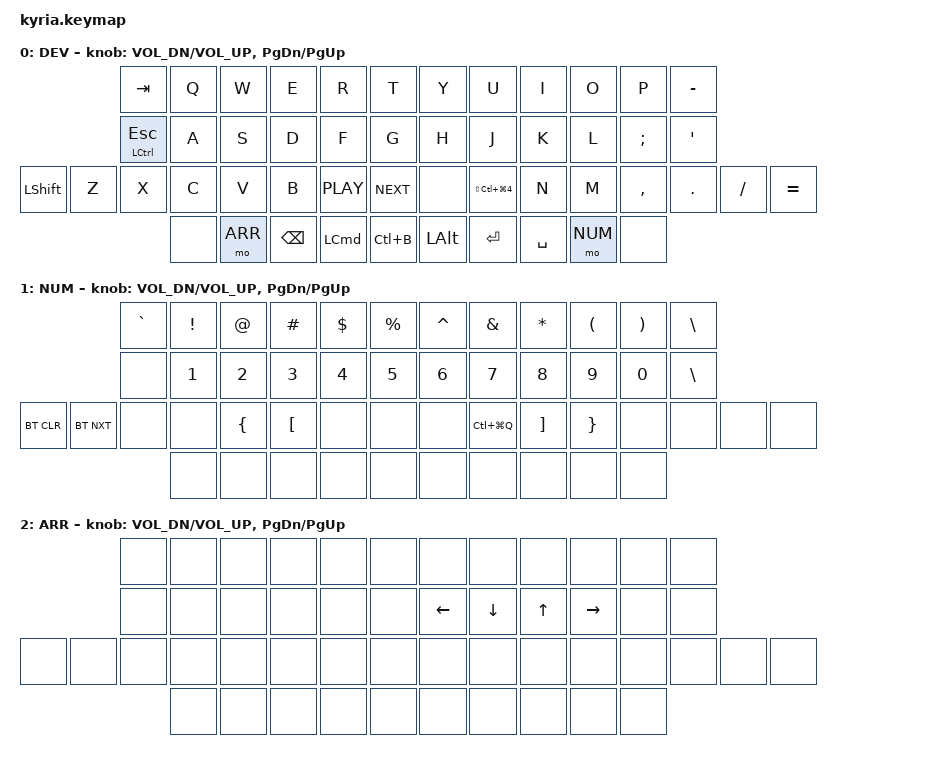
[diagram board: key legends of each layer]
/*
 * Copyright (c) 2020 The ZMK Contributors
 *
 * SPDX-License-Identifier: MIT
 * 
 * Keymap by Daniel Willeitner
 */

#include <behaviors.dtsi>
#include <dt-bindings/zmk/keys.h>
#include <dt-bindings/zmk/bt.h>

/* Layers */
#define DEV 0
#define NUM 1
#define ARR 2

/ {
	keymap {
		compatible = "zmk,keymap";

		// Base Layer: QWERTY
		//
		// ,-------------------------------------------.                              ,-------------------------------------------.
		// |   TAB  |   Q  |   W  |   E  |   R  |   T  |                              |   Y  |   U  |   I  |   O  |   P  |  - _   |
		// |--------+------+------+------+------+------|                              |------+------+------+------+------+--------|
		// |Ctrl/ESC|   A  |   S  |   D  |   F  |   G  |                              |   H  |   J  |   K  |   L  | ;  : |  ' "   |
		// |--------+------+------+------+------+------+-------------.  ,-------------+------+------+------+------+------+--------|
		// | LShift |   Z  |   X  |   C  |   V  |   B  | Play | Skip |  |      |C+W+S4|   N  |   M  | ,  < | . >  | /  ? |  = +   |
		// `----------------------+------+------+------+------+------|  |------+------+------+------+------+----------------------'
		//                        | ENCL |  ARR | BS   | CMD  |C^B   |  | Opt  | Enter| Space|  NUM | ENCR |
		//                        |      |      |      |      |      |  |      |      | Lower|      |      |
		//                        `----------------------------------'  `----------------------------------'
		//
		base_layer {
		  label = "DEV";
				bindings = <
					&kp TAB				&kp Q &kp W &kp E		&kp R			&kp T																															      &kp Y			&kp U		&kp I     &kp O   &kp P    &kp MINUS
					&mt LCTRL ESC &kp A &kp S &kp D		&kp F			&kp G																															      &kp H			&kp J		&kp K     &kp L   &kp SEMI &kp SQT
					&kp LSHFT			&kp Z &kp X &kp C		&kp V			&kp B			&kp C_PLAY	&kp C_NEXT   &none			&kp LS(LC(LG(NUMBER_4)))	&kp N			&kp M		&kp COMMA &kp DOT &kp FSLH &kp EQUAL
																		&none		&mo ARR		&kp BSPC	&kp LCMD		&kp LC(B)    &kp LALT		&kp ENTER					        &kp SPACE &mo NUM &none
					>;

					sensor-bindings = <&inc_dec_kp C_VOL_DN C_VOL_UP &inc_dec_kp PG_DN PG_UP>;
		};

		// Base Layer: Numbers
		//
		// ,-------------------------------------------.                              ,-------------------------------------------.
		// |   ` ~  |   !  |   @  |   #  |   $  |   %  |                              |   ^  |   &  |   *  |   (  |   )  |  \ |   |
		// |--------+------+------+------+------+------|                              |------+------+------+------+------+--------|
		// |        |   1  |   2  |   3  |   4  |   5  |                              |   6  |   7  |   8  |   9  |   0  |  \ |   |
		// |--------+------+------+------+------+------+-------------.  ,-------------+------+------+------+------+------+--------|
		// | BT CLR |BT NXT|      |      |   {  | { [  |      |      |  |      | QUIT |  } ] |   }  |      |      |      |        |
		// `----------------------+------+------+------+------+------|  |------+------+------+------+------+----------------------'
		//                        |      |      |      |      |      |  |      |      |      |      |      |
		//                        |      |      |      |      |      |  |      |      |      |      |      |
		//                        `----------------------------------'  `----------------------------------'
		//
		num_layer {
		  label = "NUM";
				bindings = <
					&kp GRAVE		&kp EXCL			&kp AT	      &kp HASH	    &kp DLLR	    &kp PRCNT																		    &kp CARET     &kp AMPS      &kp STAR      &kp LPAR	    &kp RPAR	    &kp BSLH
					&none				&kp NUMBER_1	&kp NUMBER_2	&kp NUMBER_3  &kp NUMBER_4	&kp NUMBER_5																		&kp NUMBER_6	&kp NUMBER_7	&kp NUMBER_8  &kp NUMBER_9	&kp NUMBER_0	&kp BSLH
					&bt BT_CLR	&bt BT_NXT		&none		      &none			    &kp LBRC	    &kp LBKT	    &none &none		&none &kp LC(LG(Q))	&kp RBKT	&kp RBRC  &none			&none			&none			&none
																						      &none			    &none			    &none			    &none	&none		&none &none					&none			&none			&none
					>;

					sensor-bindings = <&inc_dec_kp C_VOL_DN C_VOL_UP &inc_dec_kp PG_DN PG_UP>;
		};

		// Base Layer: Arrows
		//
		// ,-------------------------------------------.                              ,-------------------------------------------.
		// |        |      |      |      |      |      |                              |      |      |      |      |      |        |
		// |--------+------+------+------+------+------|                              |------+------+------+------+------+--------|
		// |        |      |      |      |      |      |                              | LEFT | DOWN |  UP  | RIGHT|      |        |
		// |--------+------+------+------+------+------+-------------.  ,-------------+------+------+------+------+------+--------|
		// |        |      |      |      |      |      |      |      |  |      |      |      |      |      |      |      |        |
		// `----------------------+------+------+------+------+------|  |------+------+------+------+------+----------------------'
		//                        |      |      |      |      |      |  |      |      |      |      |      |
		//                        |      |      |      |      |      |  |      |      |      |      |      |
		//                        `----------------------------------'  `----------------------------------'
		//
		arr_layer {
		  label = "ARR";
				bindings = <
					&none &none &none &none &none &none                           &none     &none     &none   &none     &none &none
					&none	&none &none &none &none &none                           &kp LEFT	&kp DOWN	&kp UP  &kp RIGHT	&none	&none
					&none &none &none &none &none &none &none &none		&none &none &none     &none	    &none		&none			&none &none
													  &none	&none	&none	&none	&none		&none &none	&none     &none	    &none
					>;

					sensor-bindings = <&inc_dec_kp C_VOL_DN C_VOL_UP &inc_dec_kp PG_DN PG_UP>;
		};
	};
};
